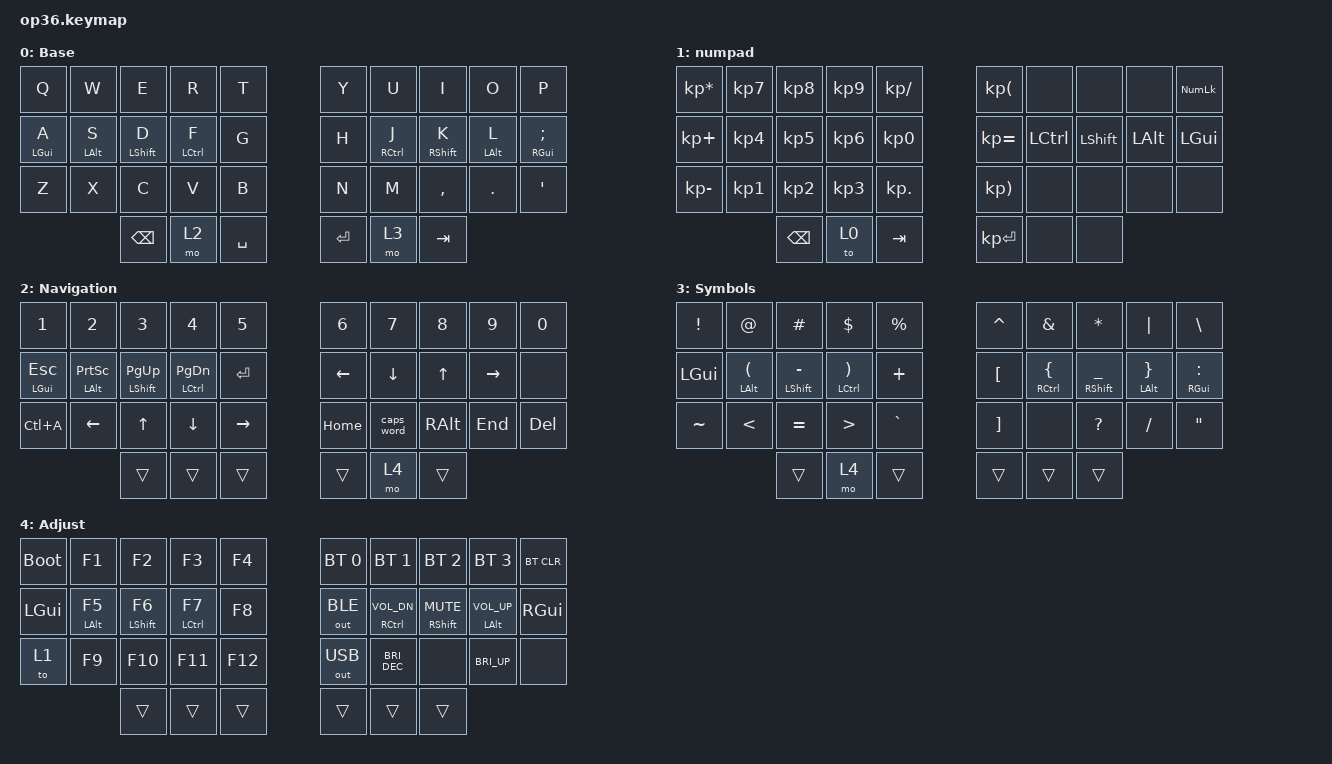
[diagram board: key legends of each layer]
#include "keys_ru.h"
#include <behaviors.dtsi>
#include <dt-bindings/zmk/bt.h>
#include <dt-bindings/zmk/keys.h>
#include <dt-bindings/zmk/outputs.h>

&mt {
    quick-tap-ms = <200>;
    flavor = "tap-preferred";
    require-prior-idle-ms = <125>;
};

&caps_word { continue-list = <UNDERSCORE BACKSPACE DELETE N1 N2 N3 N4 N5 N6 N7 N8 N9 N0>; };

/ {
    behaviors {
        hml: home_row_mod_left {
            compatible = "zmk,behavior-hold-tap";
            #binding-cells = <2>;
            flavor = "balanced";
            require-prior-idle-ms = <130>;
            tapping-term-ms = <200>;
            quick-tap-ms = <150>;
            bindings = <&kp>, <&kp>;

            hold-trigger-key-positions = <5 6 7 8 9 15 16 17 18 19 25 26 27 28 29 33 34 35>;
            hold-trigger-on-release;
        };

        hmr: home_row_mod_right {
            compatible = "zmk,behavior-hold-tap";
            #binding-cells = <2>;
            flavor = "balanced";
            require-prior-idle-ms = <130>;
            tapping-term-ms = <200>;
            quick-tap-ms = <150>;
            bindings = <&kp>, <&kp>;

            hold-trigger-key-positions = <0 1 2 3 4 10 11 12 13 14 20 21 22 23 24 30 31 32>;
            hold-trigger-on-release;
        };
    };

    combos { compatible = "zmk,combos"; };

    keymap {
        compatible = "zmk,keymap";

        base {
            bindings = <
  &kp Q        &kp W        &kp E         &kp R          &kp T                          &kp Y  &kp U         &kp I         &kp O        &kp P
  &hml LGUI A  &hml LALT S  &hml LSHFT D  &hml LCTRL F   &kp G                          &kp H  &hmr RCTRL J  &hmr RSHFT K  &hmr LALT L  &hmr RGUI SEMICOLON
  &kp Z        &kp X        &kp C         &kp V          &kp B                          &kp N  &kp M         &kp COMMA     &kp DOT      &kp SQT
                                          &kp BACKSPACE  &mo 2  &kp SPACE    &kp ENTER  &mo 3  &kp TAB
            >;

            display-name = "Base";
        };

        numpad {
            bindings = <
  &kp KP_ASTERISK  &kp KP_N7  &kp KP_N8  &kp KP_N9      &kp KP_SLASH                           &kp KP_LPAR   &none      &none       &none     &kp KP_NUMLOCK
  &kp KP_PLUS      &kp KP_N4  &kp KP_N5  &kp KP_N6      &kp KP_N0                              &kp KP_EQUAL  &kp LCTRL  &kp LSHIFT  &kp LALT  &kp LGUI
  &kp KP_MINUS     &kp KP_N1  &kp KP_N2  &kp KP_N3      &kp KP_DOT                             &kp KP_RPAR   &none      &none       &none     &none
                                         &kp BACKSPACE  &to 0         &kp TAB    &kp KP_ENTER  &none         &none
            >;
        };

        nav {
            bindings = <
  &kp N1         &kp N2           &kp N3            &kp N4            &kp N5                       &kp N6    &kp N7      &kp N8    &kp N9     &kp N0
  &hml LGUI ESC  &hml LALT PSCRN  &hml LSHFT PG_UP  &hml LCTRL PG_DN  &kp ENTER                    &kp LEFT  &kp DOWN    &kp UP    &kp RIGHT  &none
  &kp LC(A)      &kp LEFT         &kp UP            &kp DOWN          &kp RIGHT                    &kp HOME  &caps_word  &kp RALT  &kp END    &kp DELETE
                                                    &trans            &trans     &trans    &trans  &mo 4     &trans
            >;

            display-name = "Navigation";
        };

        sym {
            bindings = <
  &kp EXCL   &kp AT          &kp HASH          &kp DOLLAR       &kp PERCENT                    &kp CARET          &kp AMPS         &kp ASTRK         &kp PIPE        &kp BACKSLASH
  &kp LGUI   &hml LALT LPAR  &hml LSHFT MINUS  &hml LCTRL RPAR  &kp PLUS                       &kp LBKT           &hmr RCTRL LBRC  &hmr RSHFT UNDER  &hmr LALT RBRC  &hmr RGUI COLON
  &kp TILDE  &kp LT          &kp EQUAL         &kp GT           &kp GRAVE                      &kp RIGHT_BRACKET  &none            &kp QUESTION      &kp SLASH       &kp DQT
                                               &trans           &mo 4        &trans    &trans  &trans             &trans
            >;

            display-name = "Symbols";
        };

        adj {
            bindings = <
  &bootloader  &kp F1        &kp F2         &kp F3         &kp F4                     &bt BT_SEL 0  &bt BT_SEL 1         &bt BT_SEL 2       &bt BT_SEL 3        &bt BT_CLR
  &kp LGUI     &hml LALT F5  &hml LSHFT F6  &hml LCTRL F7  &kp F8                     &out OUT_BLE  &hmr RCTRL C_VOL_DN  &hmr RSHFT C_MUTE  &hmr LALT C_VOL_UP  &kp RGUI
  &to 1        &kp F9        &kp F10        &kp F11        &kp F12                    &out OUT_USB  &kp C_BRI_DEC        &none              &kp C_BRI_UP        &none
                                            &trans         &trans   &trans    &trans  &trans        &trans
            >;

            display-name = "Adjust";
        };
    };
};
